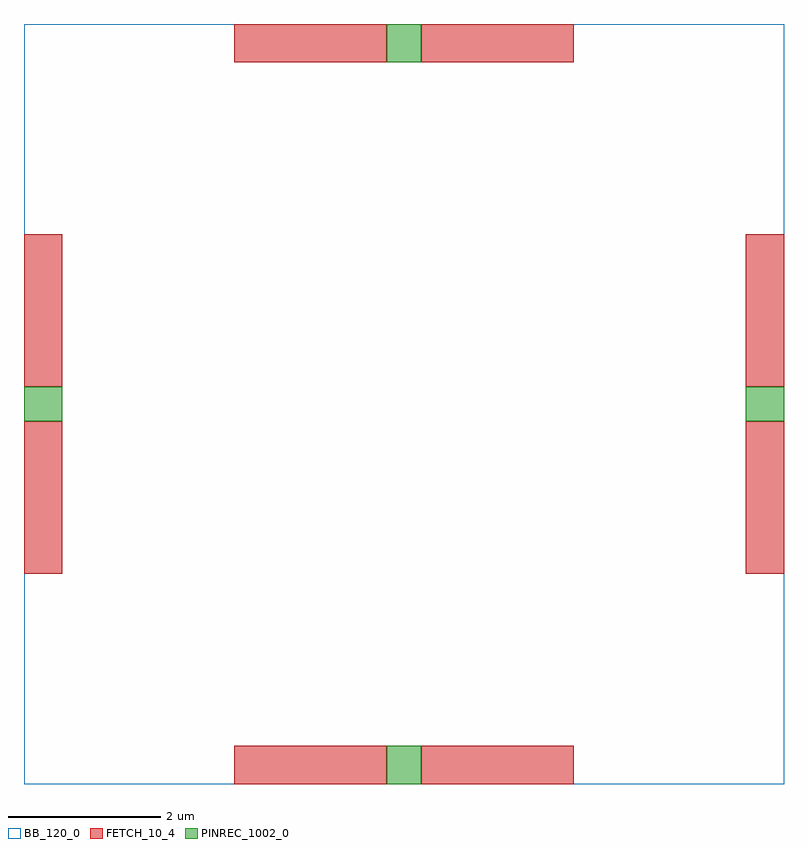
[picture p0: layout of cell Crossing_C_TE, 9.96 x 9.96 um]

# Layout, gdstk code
import gdstk
lib = gdstk.Library(unit=1e-6, precision=1e-09)
def R(c, l, rs):  # rectangles x0, y0, x1, y1
    for r in rs: c.add(gdstk.rectangle(r[:2], r[2:], *l))
FETCH_10_4 = (10, 4)
BB_120_0 = (120, 0)
PINREC_1002_0 = (1002, 0)

crossing_c_te = lib.new_cell('Crossing_C_TE')
R(crossing_c_te, FETCH_10_4, [(2.757,0,4.757,0.5), (5.207,0,7.207,0.5), (0,2.757,0.5,4.757), (9.464,2.757,9.964,4.757), (0,5.207,0.5,7.207), (9.464,5.207,9.964,7.207), (2.757,9.464,4.757,9.964), (5.207,9.464,7.207,9.964)])
R(crossing_c_te, BB_120_0, [(0,0,9.964,9.964)])
R(crossing_c_te, PINREC_1002_0, [(4.757,0,5.207,0.5), (0,4.757,0.5,5.207), (9.464,4.757,9.964,5.207), (4.757,9.464,5.207,9.964)])

lib.write_gds('Crossing_C_TE.gds')
